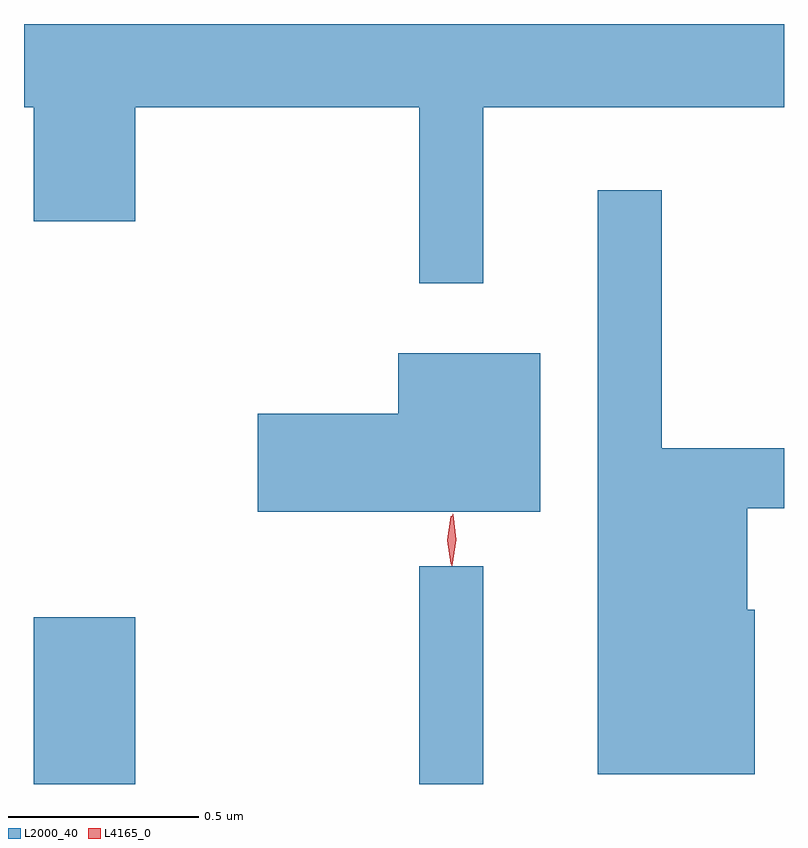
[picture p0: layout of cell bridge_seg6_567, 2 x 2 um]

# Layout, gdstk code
import gdstk
lib = gdstk.Library(unit=1e-6, precision=1e-09)
def R(c, l, rs):  # rectangles x0, y0, x1, y1
    for r in rs: c.add(gdstk.rectangle(r[:2], r[2:], *l))
def P(c, l, *ps):  # polygons
    for p in ps: c.add(gdstk.Polygon(p, *l))
L2000_40 = (2000, 40)
L4165_0 = (4165, 0)

bridge_seg6_567 = lib.new_cell('bridge_seg6_567')
R(bridge_seg6_567, L2000_40, [(434.856,1652.595,435.124,1653.034), (435.871,1652.595,436.039,1653.168)])
P(bridge_seg6_567, L2000_40, [(436.039,1654.376),(436.831,1654.376),(436.831,1654.595),(434.831,1654.595),(434.831,1654.376),(434.856,1654.376),(434.856,1654.076),(435.124,1654.076),(435.124,1654.376),(435.871,1654.376),(435.871,1653.913),(436.039,1653.913)],
  [(436.754,1653.054),(436.734,1653.054),(436.734,1653.321),(436.831,1653.321),(436.831,1653.479),(436.509,1653.479),(436.509,1654.158),(436.341,1654.158),(436.341,1652.621),(436.754,1652.621)],
  [(436.189,1653.729),(435.816,1653.729),(435.816,1653.569),(435.446,1653.569),(435.446,1653.311),(436.189,1653.311)])
P(bridge_seg6_567, L4165_0, [(435.957,1653.17),(435.948,1653.238),(435.959,1653.305),(435.959,1653.306),(435.96,1653.305),(435.968,1653.238),(435.958,1653.17),(435.958,1653.17)],
  [(435.955,1653.173),(435.954,1653.174),(435.945,1653.236),(435.954,1653.3),(435.955,1653.3),(435.956,1653.3),(435.965,1653.236),(435.956,1653.174)])

lib.write_gds('bridge_seg6_567.gds')
